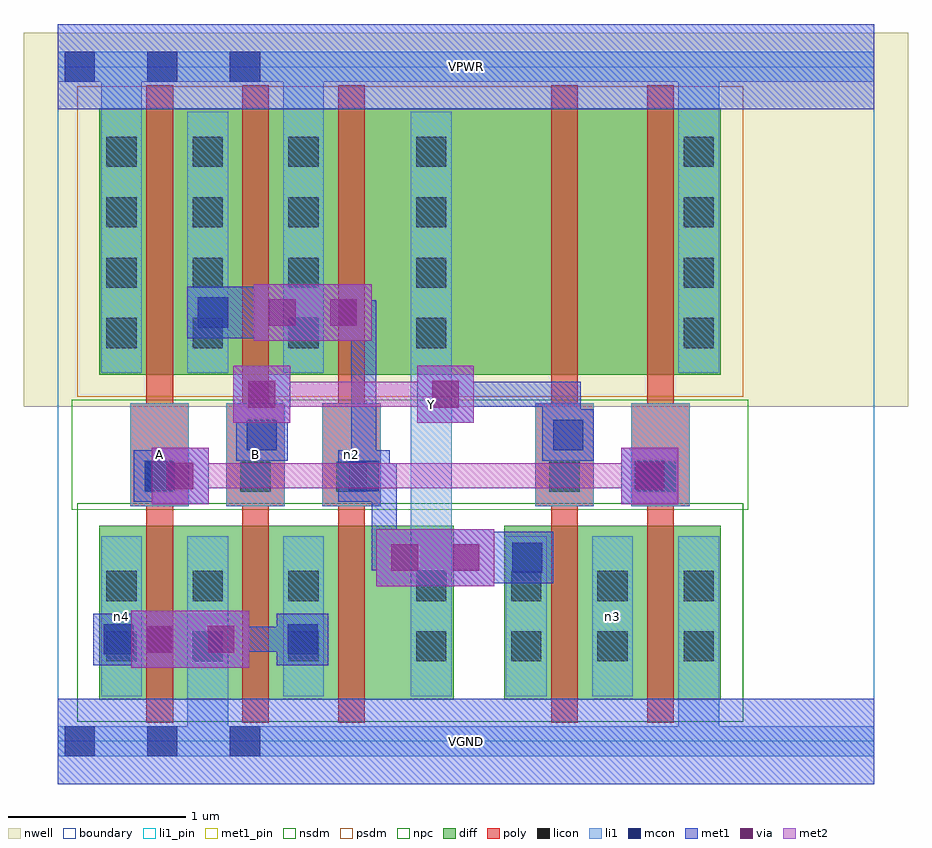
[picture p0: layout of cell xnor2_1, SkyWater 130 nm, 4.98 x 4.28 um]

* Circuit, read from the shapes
.subckt xnor2_1 A B VGND VPWR Y n2 n3 n4
XM1 VGND A n4 VSUBS sky130_fd_pr__nfet_01v8 w=0.98 l=0.15
XM2 n4 B VGND VSUBS sky130_fd_pr__nfet_01v8 w=0.98 l=0.15
XM3 Y n2 n4 VSUBS sky130_fd_pr__nfet_01v8 w=0.98 l=0.15
XM4 n3 B n2 VSUBS sky130_fd_pr__nfet_01v8 w=0.98 l=0.15
XM5 VGND A n3 VSUBS sky130_fd_pr__nfet_01v8 w=0.98 l=0.15
XM6 n2 A VPWR n1 sky130_fd_pr__pfet_01v8 w=1.5 l=0.15
XM7 VPWR B n2 n1 sky130_fd_pr__pfet_01v8 w=1.5 l=0.15
XM8 Y n2 VPWR n1 sky130_fd_pr__pfet_01v8 w=1.5 l=0.15
XM9 n5 B Y n1 sky130_fd_pr__pfet_01v8 w=1.5 l=0.15
XM10 VPWR A n5 n1 sky130_fd_pr__pfet_01v8 w=1.5 l=0.15
.ends

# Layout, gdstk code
import gdstk
lib = gdstk.Library(unit=1e-6, precision=1e-09)
def R(c, l, rs):  # rectangles x0, y0, x1, y1
    for r in rs: c.add(gdstk.rectangle(r[:2], r[2:], *l))
def A(c, l, x, y, w, h, nx, ny, dx, dy):  # array of equal rectangles
    R(c, l, [(x+i*dx, y+j*dy, x+i*dx+w, y+j*dy+h) for i in range(nx) for j in range(ny)])
nwell = (64, 20)
diff = (65, 20)
poly = (66, 20)
licon = (66, 44)
li1_pin = (67, 16)
li1 = (67, 20)
mcon = (67, 44)
met1_pin = (68, 16)
met1 = (68, 20)
via = (68, 44)
met2 = (69, 20)
nsdm = (93, 44)
psdm = (94, 20)
npc = (95, 20)
boundary = (235, 4)

xnor2_1 = lib.new_cell('xnor2_1')
R(xnor2_1, nwell, [(-0.19,1.885,4.79,3.99), (0,1.885,4.6,3.99)])
R(xnor2_1, diff, [(0.235,0.235,2.23,1.215), (2.515,0.235,3.735,1.215), (0.235,2.065,3.735,3.565)])
A(xnor2_1, poly, 0.5, 0.105, 0.15, 3.59, 3, 1, 0.54, 0)
A(xnor2_1, poly, 0.41, 1.325, 0.33, 0.58, 3, 1, 0.54, 0)
R(xnor2_1, poly, [(2.78,0.105,2.93,3.695), (3.32,0.105,3.47,3.695), (2.69,1.325,3.02,1.905), (3.23,1.325,3.56,1.905)])
A(xnor2_1, licon, 2.555, 0.45, 0.17, 0.17, 3, 2, 0.485, 0.34)
A(xnor2_1, licon, 0.49, 1.405, 0.17, 0.17, 3, 1, 0.54, 0)
A(xnor2_1, licon, 0.275, 2.215, 0.17, 0.17, 1, 4, 0, 0.34)
A(xnor2_1, licon, 0.76, 2.215, 0.17, 0.17, 1, 4, 0, 0.34)
A(xnor2_1, licon, 1.3, 2.215, 0.17, 0.17, 1, 4, 0, 0.34)
A(xnor2_1, licon, 2.02, 2.215, 0.17, 0.17, 1, 4, 0, 0.34)
A(xnor2_1, licon, 3.525, 2.215, 0.17, 0.17, 1, 4, 0, 0.34)
R(xnor2_1, licon, [(0.275,0.45,0.445,0.62), (0.76,0.45,0.93,0.62), (1.3,0.45,1.47,0.62), (2.02,0.45,2.19,0.62), (0.275,0.79,0.445,0.96), (0.76,0.79,0.93,0.96), (1.3,0.79,1.47,0.96), (2.02,0.79,2.19,0.96), (2.77,1.405,2.94,1.575), (3.31,1.405,3.48,1.575)])
R(xnor2_1, li1_pin, [(1.99,0.255,2.22,3.545), (0.41,1.325,0.74,1.905), (0.95,1.325,1.28,1.905)])
A(xnor2_1, li1, 0.41, 1.325, 0.33, 0.58, 3, 1, 0.54, 0)
R(xnor2_1, li1, [(0,-0.085,4.6,0.085), (0.73,-0.085,0.96,1.155), (3.495,-0.085,3.725,1.155), (0.245,0.255,0.475,1.155), (1.27,0.255,1.5,1.155), (1.99,0.255,2.22,3.545), (2.525,0.255,2.755,1.155), (3.01,0.255,3.24,1.155), (2.69,1.325,3.02,1.905), (3.23,1.325,3.56,1.905), (0.245,2.075,0.475,3.885), (0.73,2.075,0.96,3.545), (1.27,2.075,1.5,3.885), (3.495,2.075,3.725,3.885), (0,3.715,4.6,3.885)])
A(xnor2_1, mcon, 0.04, -0.085, 0.17, 0.17, 3, 2, 0.465, 3.8)
R(xnor2_1, mcon, [(0.26,0.49,0.43,0.66), (1.295,0.49,1.465,0.66), (2.56,0.95,2.73,1.12), (0.49,1.41,0.66,1.58), (1.64,1.41,1.81,1.58), (3.25,1.41,3.42,1.58), (1.065,1.64,1.235,1.81), (2.79,1.64,2.96,1.81), (0.79,2.33,0.96,2.5)])
R(xnor2_1, met1_pin, [(0,-0.24,4.6,0.24), (0,3.56,4.6,4.04)])
R(xnor2_1, met1, [(0,-0.24,4.6,0.24), (0.415,0.415,0.735,0.735), (0.735,0.415,0.76,0.735), (0.76,0.415,1.08,0.735), (0.2,0.43,0.49,0.72), (1.235,0.43,1.525,0.72), (0.275,0.505,0.645,0.645), (0.645,0.505,0.76,0.645), (0.735,0.505,0.85,0.645), (0.85,0.505,1.45,0.645), (1.795,0.875,2.115,1.195), (2.115,0.875,2.14,1.195), (2.14,0.875,2.46,1.195), (2.46,0.89,2.5,1.18), (2.5,0.89,2.79,1.18), (1.77,0.965,2.025,1.105), (1.77,0.965,1.91,1.565), (2.025,0.965,2.14,1.105), (2.115,0.965,2.23,1.105), (2.23,0.965,2.715,1.105), (0.53,1.335,0.85,1.655), (3.175,1.335,3.495,1.655), (0.43,1.35,0.72,1.64), (1.58,1.35,1.87,1.64), (3.19,1.35,3.48,1.64), (0.505,1.425,0.76,1.565), (1.655,1.425,1.91,1.565), (1.655,1.425,1.795,2.485), (1.005,1.58,1.295,1.87), (2.73,1.58,3.02,1.87), (1.08,1.655,1.22,2.025), (2.805,1.655,2.945,2.025), (0.99,1.795,1.31,2.115), (2.025,1.795,2.345,2.115), (2.73,1.87,2.945,1.885), (2.115,1.885,2.945,2.025), (1.105,2.255,1.425,2.575), (1.425,2.255,1.45,2.575), (1.45,2.255,1.77,2.575), (0.73,2.27,1.02,2.56), (1.02,2.27,1.105,2.56), (0.805,2.345,1.105,2.485), (0.965,2.345,1.335,2.485), (1.335,2.345,1.45,2.485), (1.425,2.345,1.54,2.485), (1.54,2.345,1.795,2.485), (0,3.56,4.6,4.04)])
R(xnor2_1, via, [(0.5,0.5,0.65,0.65), (0.845,0.5,0.995,0.65), (1.88,0.96,2.03,1.11), (2.225,0.96,2.375,1.11), (0.615,1.42,0.765,1.57), (3.26,1.42,3.41,1.57), (1.075,1.88,1.225,2.03), (2.11,1.88,2.26,2.03), (1.19,2.34,1.34,2.49), (1.535,2.34,1.685,2.49)])
R(xnor2_1, met2, [(0.415,0.415,0.735,0.735), (0.735,0.415,0.76,0.735), (0.76,0.415,1.08,0.735), (0.505,0.505,0.99,0.645), (1.795,0.875,2.115,1.195), (2.115,0.875,2.14,1.195), (2.14,0.875,2.46,1.195), (1.885,0.965,2.37,1.105), (0.53,1.335,0.85,1.655), (3.175,1.335,3.495,1.655), (0.62,1.425,3.405,1.565), (0.99,1.795,1.31,2.115), (2.025,1.795,2.345,2.115), (1.08,1.885,2.255,2.025), (1.105,2.255,1.425,2.575), (1.425,2.255,1.45,2.575), (1.45,2.255,1.77,2.575), (1.195,2.345,1.68,2.485)])
R(xnor2_1, nsdm, [(0.11,0.11,3.86,1.34)])
R(xnor2_1, psdm, [(0.11,1.94,3.86,3.69)])
R(xnor2_1, npc, [(0.08,1.305,3.89,1.925)])
R(xnor2_1, boundary, [(0,0,4.6,3.8)])
xnor2_1.add(gdstk.Label('A', (0.575,1.615), layer=67, texttype=5))
xnor2_1.add(gdstk.Label('B', (1.115,1.615), layer=67, texttype=5))
xnor2_1.add(gdstk.Label('Y', (2.105,1.9), layer=67, texttype=5))
xnor2_1.add(gdstk.Label('n2', (1.655,1.615), layer=67, texttype=5))
xnor2_1.add(gdstk.Label('n4', (0.36,0.705), layer=67, texttype=5))
xnor2_1.add(gdstk.Label('n3', (3.125,0.705), layer=67, texttype=5))
xnor2_1.add(gdstk.Label('VPWR', (2.3,3.8), layer=68, texttype=5))
xnor2_1.add(gdstk.Label('VGND', (2.3,0), layer=68, texttype=5))
xnor2_1.add(gdstk.Label('A', (0.575,1.615), layer=67, texttype=16))
xnor2_1.add(gdstk.Label('B', (1.115,1.615), layer=67, texttype=16))
xnor2_1.add(gdstk.Label('Y', (2.105,1.9), layer=67, texttype=16))
xnor2_1.add(gdstk.Label('VPWR', (2.3,3.8), layer=68, texttype=16))
xnor2_1.add(gdstk.Label('VGND', (2.3,0), layer=68, texttype=16))

lib.write_gds('xnor2_1.gds')
